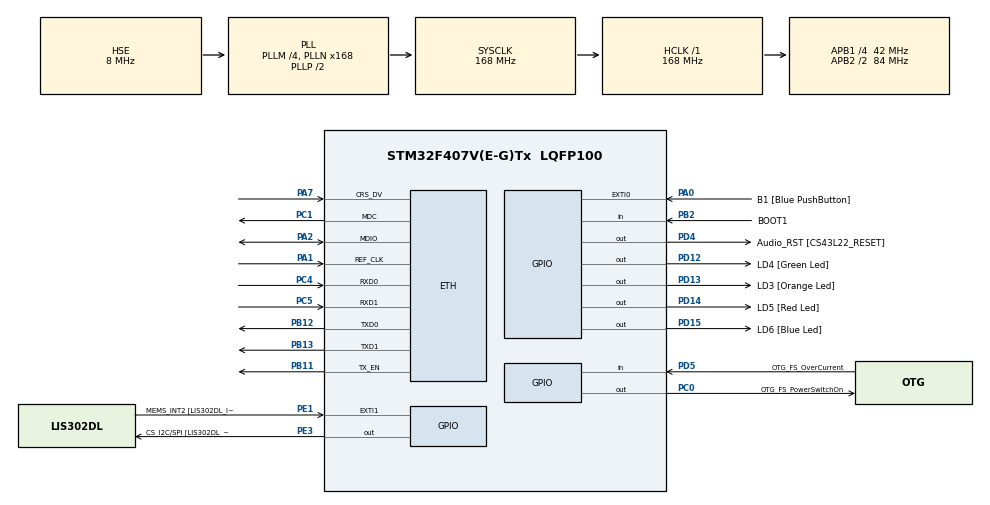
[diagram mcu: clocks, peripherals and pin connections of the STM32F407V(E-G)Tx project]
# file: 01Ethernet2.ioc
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ETH.MACAddr=00\:80\:E1\:00\:11\:11
ETH.MediaInterface=HAL_ETH_RMII_MODE
ETH.RxMode=ETH_RXPOLLING_MODE
LWIP.BSP.number=1
LWIP.LWIP_HTTPD=1
LWIP.LWIP_HTTPD_CGI_SSI=1
LWIP.LWIP_HTTPD_SSI_BY_FILE_EXTENSION=0
LWIP.LWIP_HTTPD_SUPPORT_POST=1
LWIP.LWIP_IGMP=1
LWIP.LWIP_MDNS=1
LWIP.LWIP_MDNS_RESPONDER=1
LWIP.LWIP_NETIF_STATUS_CALLBACK=1
LWIP.LWIP_NUM_NETIF_CLIENT_DATA=1
LWIP.MDNS_MAX_SERVICES=1
LWIP.MEMP_MEM_MALLOC=1
LWIP.MEMP_NUM_UDP_PCB=5
LWIP.Version=v2.1.2_Cube
LWIP0.BSP.STBoard=false
LWIP0.BSP.api=BSP_COMPONENT_DRIVER
LWIP0.BSP.component=LAN8742
LWIP0.BSP.instance=LAN8742
LWIP0.BSP.name=Driver_PHY
LWIP0.BSP.semaphore=S_LAN8742
LWIP0.BSP.solution=LAN8742
Mcu.Family=STM32F4
Mcu.Name=STM32F407V(E-G)Tx
Mcu.Package=LQFP100
NVIC.PriorityGroup=NVIC_PRIORITYGROUP_0
PA0-WKUP.GPIO_Label=B1 [Blue PushButton]
PA0-WKUP.Signal=GPXTI0
PA1.Mode=RMII
PA1.Signal=ETH_REF_CLK
PA10.GPIO_Label=OTG_FS_ID
PA10.GPIO_Mode=GPIO_MODE_AF_PP
PA10.GPIO_PuPd=GPIO_NOPULL
PA10.GPIO_Speed=GPIO_SPEED_FREQ_LOW
PA10.Signal=USB_OTG_FS_ID
PA11.GPIO_Label=OTG_FS_DM
PA11.GPIO_Mode=GPIO_MODE_AF_PP
PA11.GPIO_PuPd=GPIO_NOPULL
PA11.GPIO_Speed=GPIO_SPEED_FREQ_LOW
PA11.Signal=USB_OTG_FS_DM
PA12.GPIO_Label=OTG_FS_DP
PA12.GPIO_Mode=GPIO_MODE_AF_PP
PA12.GPIO_PuPd=GPIO_NOPULL
PA12.GPIO_Speed=GPIO_SPEED_FREQ_LOW
PA12.Signal=USB_OTG_FS_DP
PA13.GPIO_Label=SWDIO
PA13.Signal=SYS_JTMS-SWDIO
PA14.GPIO_Label=SWCLK
PA14.Signal=SYS_JTCK-SWCLK
PA2.Mode=RMII
PA2.Signal=ETH_MDIO
PA4.GPIO_Label=I2S3_WS [CS43L22_LRCK]
PA4.GPIO_Mode=GPIO_MODE_AF_PP
PA4.GPIO_PuPd=GPIO_NOPULL
PA4.GPIO_Speed=GPIO_SPEED_FREQ_LOW
PA4.Signal=I2S3_WS
PA5.GPIO_Label=SPI1_SCK [LIS302DL_SCL/SPC]
PA5.GPIO_Mode=GPIO_MODE_AF_PP
PA5.GPIO_PuPd=GPIO_NOPULL
PA5.GPIO_Speed=GPIO_SPEED_FREQ_LOW
PA5.Signal=SPI1_SCK
PA6.GPIO_Label=SPI1_MISO [LIS302DL_SDO]
PA6.GPIO_Mode=GPIO_MODE_AF_PP
PA6.GPIO_PuPd=GPIO_NOPULL
PA6.GPIO_Speed=GPIO_SPEED_FREQ_LOW
PA6.Signal=SPI1_MISO
PA7.Mode=RMII
PA7.Signal=ETH_CRS_DV
PA9.GPIO_Label=VBUS_FS
PA9.GPIO_Mode=GPIO_MODE_INPUT
PA9.GPIO_PuPd=GPIO_NOPULL
PA9.Signal=USB_OTG_FS_VBUS
PB10.GPIO_Label=CLK_IN [MP45DT02_CLK]
PB10.GPIO_Mode=GPIO_MODE_AF_PP
PB10.GPIO_PuPd=GPIO_NOPULL
PB10.GPIO_Speed=GPIO_SPEED_FREQ_LOW
PB10.Signal=I2S2_CK
PB11.Mode=RMII
PB11.Signal=ETH_TX_EN
PB12.Mode=RMII
PB12.Signal=ETH_TXD0
PB13.Mode=RMII
PB13.Signal=ETH_TXD1
PB2.GPIO_Label=BOOT1
PB2.GPIO_Mode=GPIO_MODE_INPUT
PB2.GPIO_PuPd=GPIO_NOPULL
PB2.Signal=GPIO_Input
PB3.GPIO_Label=SWO
PB3.Signal=SYS_JTDO-SWO
PB6.GPIO_Label=Audio_SCL [CS43L22_SCL]
PB6.GPIO_Mode=GPIO_MODE_AF_OD
PB6.GPIO_PuPd=GPIO_NOPULL
PB6.GPIO_Speed=GPIO_SPEED_FREQ_LOW
PB6.Signal=I2C1_SCL
PB9.GPIO_Label=Audio_SDA [CS43L22_SDA]
PB9.GPIO_Mode=GPIO_MODE_AF_OD
PB9.GPIO_PuPd=GPIO_NOPULL
PB9.GPIO_Speed=GPIO_SPEED_FREQ_LOW
PB9.Signal=I2C1_SDA
PC0.GPIO_Label=OTG_FS_PowerSwitchOn
PC0.GPIO_PuPd=GPIO_NOPULL
PC0.GPIO_Speed=GPIO_SPEED_FREQ_LOW
PC0.PinState=GPIO_PIN_SET
PC0.Signal=GPIO_Output
PC1.Mode=RMII
PC1.Signal=ETH_MDC
PC10.GPIO_Label=I2S3_SCK [CS43L22_SCLK]
PC10.GPIO_Mode=GPIO_MODE_AF_PP
PC10.GPIO_PuPd=GPIO_NOPULL
PC10.GPIO_Speed=GPIO_SPEED_FREQ_LOW
PC10.Signal=I2S3_CK
PC12.GPIO_Label=I2S3_SD [CS43L22_SDIN]
PC12.GPIO_Mode=GPIO_MODE_AF_PP
PC12.GPIO_PuPd=GPIO_NOPULL
PC12.GPIO_Speed=GPIO_SPEED_FREQ_LOW
PC12.Signal=I2S3_SD
PC14-OSC32_IN.GPIO_Label=PC14-OSC32_IN
PC14-OSC32_IN.Signal=RCC_OSC32_IN
PC15-OSC32_OUT.GPIO_Label=PC15-OSC32_OUT
PC15-OSC32_OUT.Signal=RCC_OSC32_OUT
PC3.GPIO_Label=PDM_OUT [MP45DT02_DOUT]
PC3.GPIO_Mode=GPIO_MODE_AF_PP
PC3.GPIO_PuPd=GPIO_NOPULL
PC3.GPIO_Speed=GPIO_SPEED_FREQ_LOW
PC3.Signal=I2S2_SD
PC4.Mode=RMII
PC4.Signal=ETH_RXD0
PC5.Mode=RMII
PC5.Signal=ETH_RXD1
PC7.GPIO_Label=I2S3_MCK [CS43L22_MCLK]
PC7.GPIO_Mode=GPIO_MODE_AF_PP
PC7.GPIO_PuPd=GPIO_NOPULL
PC7.GPIO_Speed=GPIO_SPEED_FREQ_LOW
PC7.Signal=I2S3_MCK
PD12.GPIO_Label=LD4 [Green Led]
PD12.GPIO_PuPd=GPIO_NOPULL
PD12.GPIO_Speed=GPIO_SPEED_FREQ_LOW
PD12.Signal=GPIO_Output
PD13.GPIO_Label=LD3 [Orange Led]
PD13.GPIO_PuPd=GPIO_NOPULL
PD13.GPIO_Speed=GPIO_SPEED_FREQ_LOW
PD13.Signal=GPIO_Output
PD14.GPIO_Label=LD5 [Red Led]
PD14.GPIO_PuPd=GPIO_NOPULL
PD14.GPIO_Speed=GPIO_SPEED_FREQ_LOW
PD14.Signal=GPIO_Output
PD15.GPIO_Label=LD6 [Blue Led]
PD15.GPIO_PuPd=GPIO_NOPULL
PD15.GPIO_Speed=GPIO_SPEED_FREQ_LOW
PD15.Signal=GPIO_Output
PD4.GPIO_Label=Audio_RST [CS43L22_RESET]
PD4.GPIO_PuPd=GPIO_NOPULL
PD4.GPIO_Speed=GPIO_SPEED_FREQ_LOW
PD4.Signal=GPIO_Output
PD5.GPIO_Label=OTG_FS_OverCurrent
PD5.GPIO_Mode=GPIO_MODE_INPUT
PD5.GPIO_PuPd=GPIO_NOPULL
PD5.Signal=GPIO_Input
PE1.GPIO_Label=MEMS_INT2 [LIS302DL_INT2]
PE1.GPIO_ModeDefaultEXTI=GPIO_MODE_EVT_RISING
PE1.GPIO_PuPd=GPIO_NOPULL
PE1.Signal=GPXTI1
PE3.GPIO_Label=CS_I2C/SPI [LIS302DL_CS_I2C/SPI]
PE3.GPIO_PuPd=GPIO_NOPULL
PE3.GPIO_Speed=GPIO_SPEED_FREQ_LOW
PE3.Signal=GPIO_Output
PH0-OSC_IN.GPIO_Label=PH0-OSC_IN
PH0-OSC_IN.Mode=HSE-External-Oscillator
PH0-OSC_IN.Signal=RCC_OSC_IN
PH1-OSC_OUT.GPIO_Label=PH1-OSC_OUT
PH1-OSC_OUT.Mode=HSE-External-Oscillator
PH1-OSC_OUT.Signal=RCC_OSC_OUT
ProjectManager.HeapSize=0x200
ProjectManager.StackSize=0x400
ProjectManager.TargetToolchain=STM32CubeIDE
RCC.48MHZClocksFreq_Value=48000000
RCC.AHBFreq_Value=168000000
RCC.APB1CLKDivider=RCC_HCLK_DIV4
RCC.APB1Freq_Value=42000000
RCC.APB1TimFreq_Value=84000000
RCC.APB2CLKDivider=RCC_HCLK_DIV2
RCC.APB2Freq_Value=84000000
RCC.APB2TimFreq_Value=168000000
RCC.CortexFreq_Value=168000000
RCC.HCLKFreq_Value=168000000
RCC.HSE_VALUE=8000000
RCC.HSI_VALUE=16000000
RCC.LSE_VALUE=32768
RCC.PLLM=4
RCC.PLLN=168
RCC.PLLQ=7
RCC.PLLSourceVirtual=RCC_PLLSOURCE_HSE
RCC.SYSCLKFreq_VALUE=168000000
RCC.SYSCLKSource=RCC_SYSCLKSOURCE_PLLCLK
RCC.VCOOutputFreq_Value=336000000
VP_LWIP_VS_Enabled.Mode=Enabled
board=STM32F407G-DISC1

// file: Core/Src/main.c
/* USER CODE BEGIN Header */
/**
 *******************************************************************************
 * @file           : main.c
 * @brief          : Main program body
 *******************************************************************************
 */
/* USER CODE END Header */
#include "main.h"
#include "lwip.h"
#include "gpio.h"

/* USER CODE BEGIN Includes */
#include "mdns.h"
#include "lwip/apps/httpd.h"
#include "lwip/netif.h"
#include "lwip/dhcp.h"
/* USER CODE END Includes */

/* USER CODE BEGIN PTD */
void ip_change_callback(struct netif *netif);
/* USER CODE END PTD */

/* USER CODE BEGIN PV */
struct netif gentif;
/* USER CODE END PV */

void SystemClock_Config(void);
/* USER CODE BEGIN PFP */
void StartDHCP(void);
void StartMDNS(void);
/* USER CODE END PFP */

/* USER CODE BEGIN 0 */
err_t httpd_post_receive_data(void *connection, struct pbuf *p) {
    if (p != NULL) {
        printf("Received POST data: %.*s\n", p->len, (char *)p->payload);
    }
    return ERR_OK;
}

void httpd_post_finished(void *connection, char *response_uri, u16_t response_uri_len) {
    printf("POST processing finished for URI: %s\n", response_uri);
}

err_t httpd_post_begin(void *connection, const char *uri, const char *http_request,
                       u16_t http_request_len, int content_len, char *response_uri, u16_t response_uri_len, u8_t *post_data) {
    printf("POST request started for URI: %s\n", uri);
    return ERR_OK;
}

void httpd_cgi_handler(struct fs_file *file, const char* uri, int iNumParams,
                       char **pcParam, char **pcValue) {
    __NOP();
}
/* USER CODE END 0 */

int main(void) {
    HAL_Init();
    SystemClock_Config();
    MX_GPIO_Init();
    MX_LWIP_Init();

    /* Configure network interface with DHCP */
    netif_add(&gentif, IP_ADDR_ANY, IP_ADDR_ANY, IP_ADDR_ANY, NULL, &ethernetif_init, &ethernet_input);
    netif_set_status_callback(&gentif, ip_change_callback);
    netif_set_default(&gentif);
    netif_set_up(&gentif);

    /* Start DHCP */
    StartDHCP();

    /* Main loop */
    while (1) {
        MX_LWIP_Process();

        /* Check for DHCP success and start mDNS */
        if (dhcp_supplied_address(&gentif)) {
            StartMDNS();
            break;
        }
    }

    /* Start HTTP server */
    httpd_init();

    /* Main loop */
    while (1) {
        MX_LWIP_Process();
    }
}

void SystemClock_Config(void) {
    RCC_OscInitTypeDef RCC_OscInitStruct = {0};
    RCC_ClkInitTypeDef RCC_ClkInitStruct = {0};

    /** Configure the main internal regulator output voltage
     */
    __HAL_RCC_PWR_CLK_ENABLE();
    __HAL_PWR_VOLTAGESCALING_CONFIG(PWR_REGULATOR_VOLTAGE_SCALE1);

    /** Initializes the RCC Oscillators according to the specified parameters
     * in the RCC_OscInitTypeDef structure.
     */
    RCC_OscInitStruct.OscillatorType = RCC_OSCILLATORTYPE_HSE;
    RCC_OscInitStruct.HSEState = RCC_HSE_ON;
    RCC_OscInitStruct.PLL.PLLState = RCC_PLL_ON;
    RCC_OscInitStruct.PLL.PLLSource = RCC_PLLSOURCE_HSE;
    RCC_OscInitStruct.PLL.PLLM = 4;
    RCC_OscInitStruct.PLL.PLLN = 168;
    RCC_OscInitStruct.PLL.PLLP = RCC_PLLP_DIV2;
    RCC_OscInitStruct.PLL.PLLQ = 7;
    if (HAL_RCC_OscConfig(&RCC_OscInitStruct) != HAL_OK) {
        Error_Handler();
    }

    /** Initializes the CPU, AHB and APB buses clocks
     */
    RCC_ClkInitStruct.ClockType = RCC_CLOCKTYPE_HCLK | RCC_CLOCKTYPE_SYSCLK
                                  | RCC_CLOCKTYPE_PCLK1 | RCC_CLOCKTYPE_PCLK2;
    RCC_ClkInitStruct.SYSCLKSource = RCC_SYSCLKSOURCE_PLLCLK;
    RCC_ClkInitStruct.AHBCLKDivider = RCC_SYSCLK_DIV1;
    RCC_ClkInitStruct.APB1CLKDivider = RCC_HCLK_DIV4;
    RCC_ClkInitStruct.APB2CLKDivider = RCC_HCLK_DIV2;

    if (HAL_RCC_ClockConfig(&RCC_ClkInitStruct, FLASH_LATENCY_5) != HAL_OK) {
        Error_Handler();
    }
}

/* USER CODE BEGIN 4 */

/* Start DHCP */
void StartDHCP(void) {
    dhcp_start(&gentif);
    printf("DHCP started, waiting for IP address...\n");
}

/* Start mDNS */
void StartMDNS(void) {
    if (dhcp_supplied_address(&gentif)) {
        mdns_resp_add_netif(&gentif, "mydevice", 60); // Replace "mydevice" with your desired hostname
        mdns_resp_add_service(&gentif, "My HTTP Server", "_http", DNSSD_PROTO_TCP, 80, 60, NULL, NULL);
        printf("mDNS initialized with hostname: mydevice\n");
    }
}

void ip_change_callback(struct netif *netif) {
    if (netif_is_up(netif) && dhcp_supplied_address(netif)) {
        printf("IP Address changed: %s\n", ip4addr_ntoa(netif_ip4_addr(netif)));
        StartMDNS();
    }
}

/* USER CODE END 4 */

void Error_Handler(void) {
    __disable_irq();
    while (1) {
    }
}
